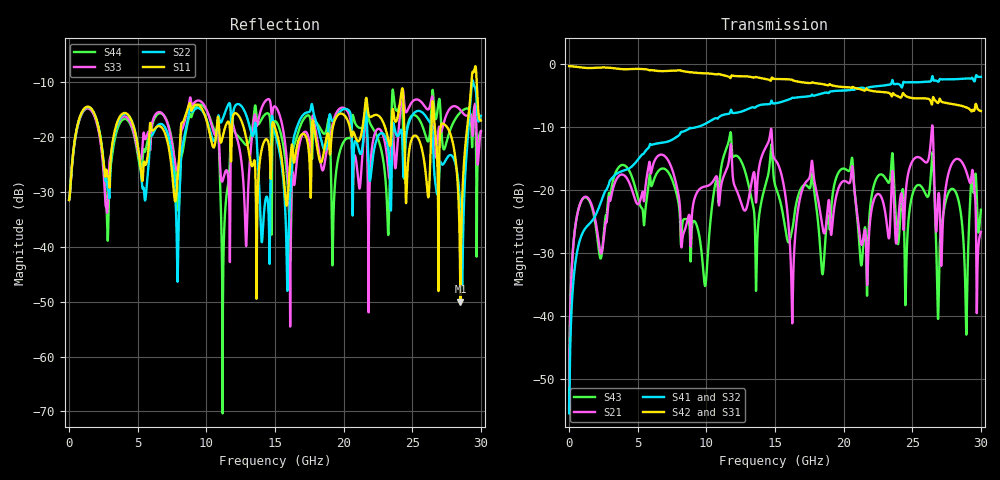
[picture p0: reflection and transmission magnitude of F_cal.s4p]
!MTL model of F_cal, calibrated on full-wave A (medium)
# Hz S RI R 50.0
!freq ReS11 ImS11 ReS12 ImS12 ReS13 ImS13
! ReS14 ImS14
! ReS21 ImS21 ReS22 ImS22 ReS23 ImS23
! ReS24 ImS24
! ReS31 ImS31 ReS32 ImS32 ReS33 ImS33
! ReS34 ImS34
! ReS41 ImS41 ReS42 ImS42 ReS43 ImS43
! ReS44 ImS44
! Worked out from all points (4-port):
!   3000 points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, 10 MHz to 30 GHz, reference 50 ohm
!   strongest paths, dB at 10 MHz, 7.51 GHz, 15.01 GHz, 22.51 GHz, 30 GHz:
!     S42: -0.4, -1.1, -2.4, -4.5, -7.5
!     S31: -0.4, -1.1, -2.5, -4.6, -7.5
!     S41: -55.4, -12.1, -6.3, -3.6, -2.1
!     S32: -55.4, -12.2, -6.4, -3.5, -2.1
!     S21: -54.9, -16.7, -15.2, -20.7, -26.7
!     S43: -54.8, -18.4, -19.3, -17.8, -23.2
!   lowest |S11| = -50.0 dB at 28.51 GHz (marker M1), VSWR 1.01, Z = 50.3 + j0.189 ohm
!   |S11| at or under -10 dB: start of sweep to 29.31 GHz; 29.69 GHz to end of sweep
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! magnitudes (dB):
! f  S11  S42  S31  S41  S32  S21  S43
! 10 MHz  -31.5  -0.4  -0.4  -55.4  -55.4  -54.9  -54.8
! 3.81 GHz  -16.0  -0.9  -0.9  -17.1  -17.0  -17.6  -16.1
! 9.9 GHz  -16.0  -1.5  -1.6  -9.6  -9.6  -19.5  -35.2
! 11.22 GHz  -19.7  -1.8  -1.8  -8.1  -8.3  -18.1  -15.1
! 11.93 GHz  -16.4  -1.9  -1.9  -7.8  -8.0  -17.9  -14.8
! 28.51 GHz  -50.0  -6.7  -6.7  -2.4  -2.5  -15.3  -23.3
! 30 GHz  -17.0  -7.5  -7.5  -2.1  -2.1  -26.7  -23.2
